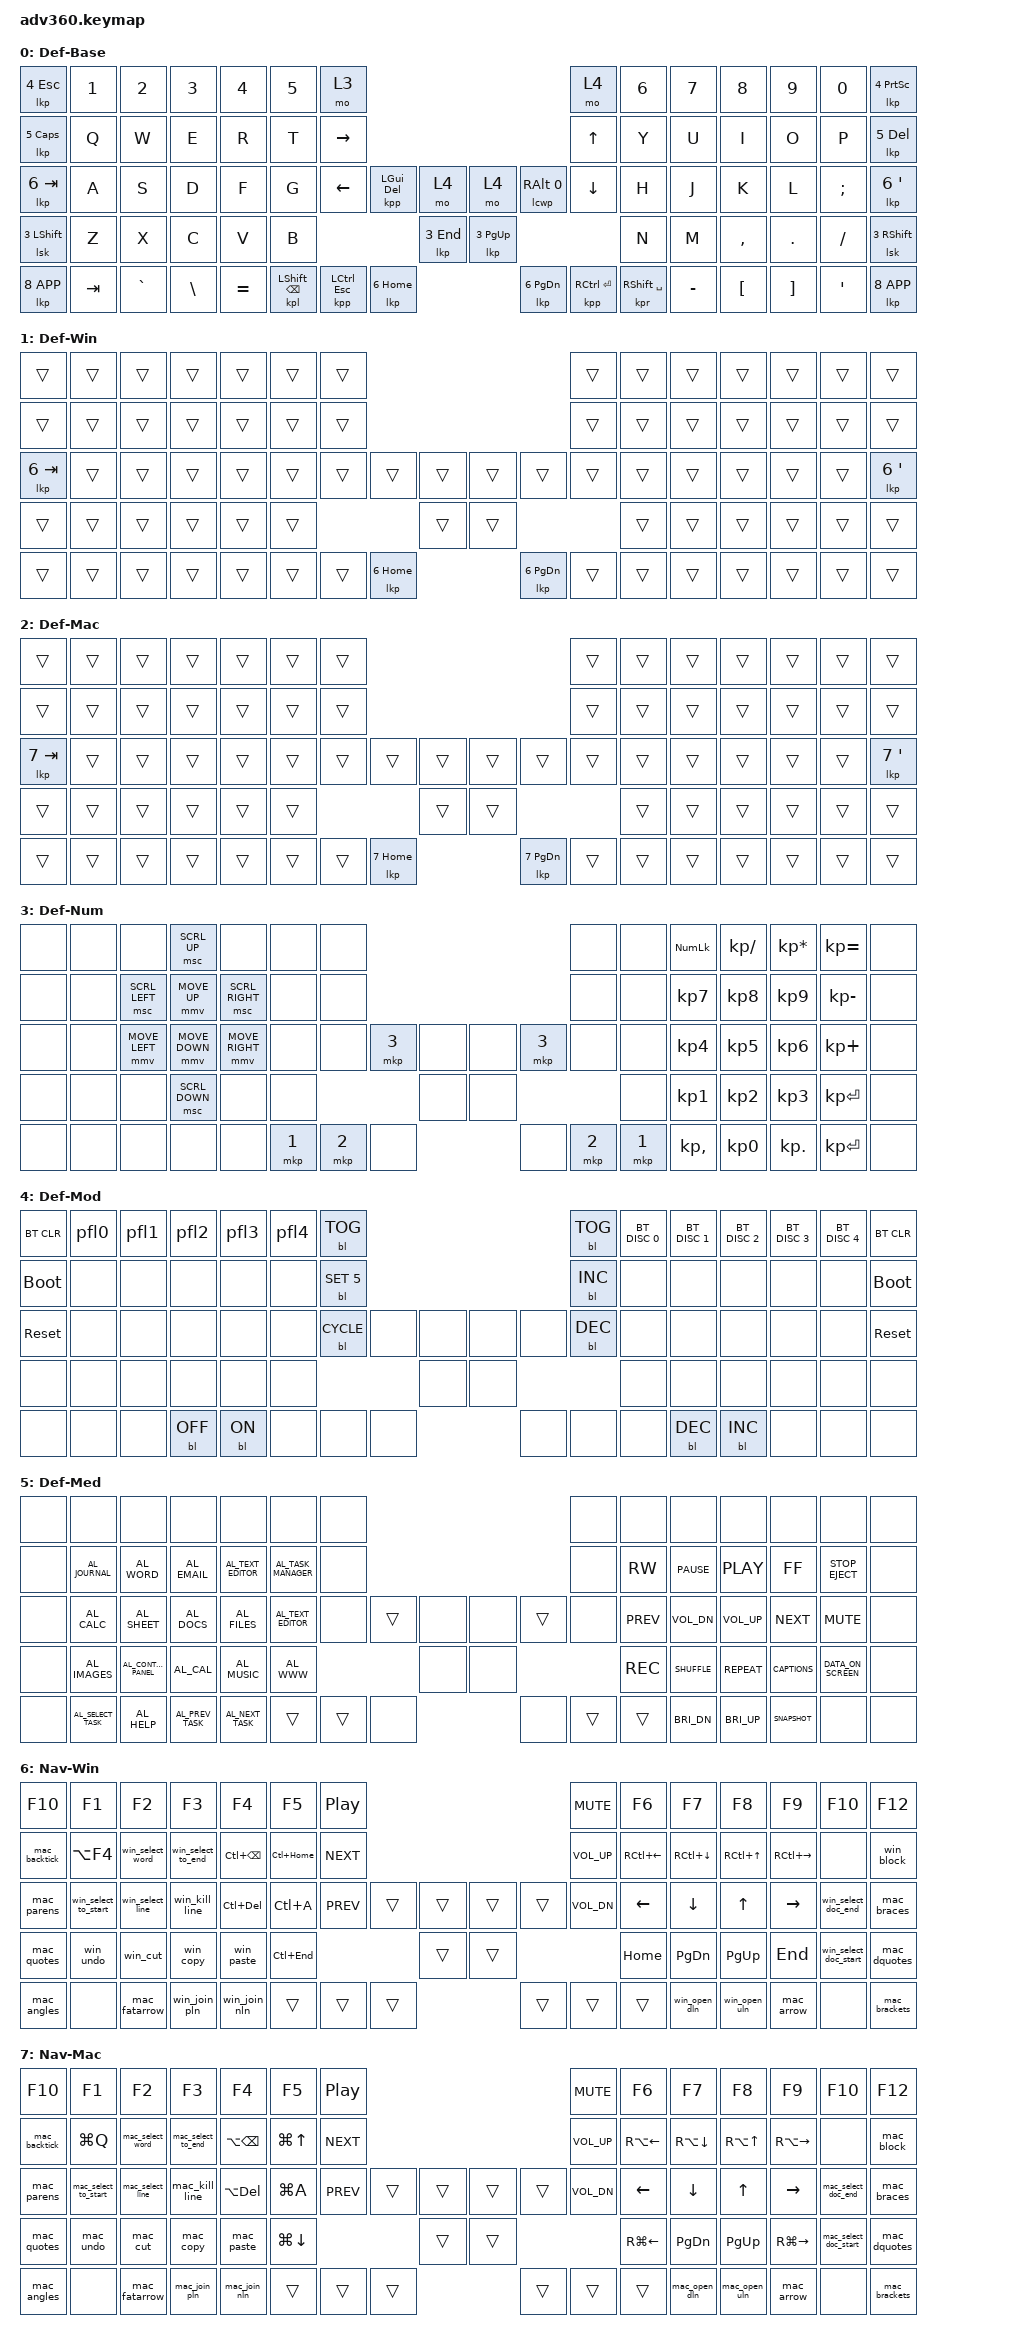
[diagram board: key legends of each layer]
#define ZMK_POINTING_DEFAULT_MOVE_VAL 1400  // default: 600
#define ZMK_POINTING_DEFAULT_SCRL_VAL 40    // default: 10
#define USER_CONFIG_DEFAULT_KEYMAP 1 // default: keymaps

#include <behaviors.dtsi>
#include <dt-bindings/zmk/backlight.h>
#include <dt-bindings/zmk/bt.h>
#include <dt-bindings/zmk/keys.h>
#include <dt-bindings/zmk/pointing.h>
#include <dt-bindings/zmk/rgb.h>
#include <dt-bindings/zmk/stp.h>
#include "plugin/overrides.dtsi"
#include "keys.dtsi"

/ {
    behaviors {
        #include "plugin/definitions.dtsi"
        #include "plugin/declarations.dtsi"
        #include "plugin/macros.dtsi"
        #include "version.dtsi"
    };

#ifdef USER_CONFIG_DEFAULT_KEYMAP
    keymap {
        compatible = "zmk,keymap";

        default_base {
            display-name = "Def-Base";
            bindings = <
                &lkp  4 ESC    &kp N1     &kp N2    &kp N3    &kp N4     &kp N5    &mo 3                                                                           &mo 4      &kp N6  &kp N7     &kp N8     &kp N9      &kp N0      &lkp 4 PSCRN
                &lkp  5 CAPS   &kp Q      &kp W     &kp E     &kp R      &kp T     &kp RIGHT                                                                       &kp UP     &kp Y   &kp U      &kp I      &kp O       &kp P       &lkp 5 DEL
                &lkp  6 TAB    &kp A      &kp S     &kp D     &kp F      &kp G     &kp LEFT         &kpp LGUI DEL &mo  4      &mo  4       &lcwp RALT 0            &kp DOWN   &kp H   &kp J      &kp K      &kp L       &kp SEMI    &lkp 6 SQT
                &lsk  3 LSHIFT &kp Z      &kp X     &kp C     &kp V      &kp B                                    &lkp 3 END  &lkp 3 PG_UP                                    &kp N   &kp M      &kp COMMA  &kp DOT     &kp FSLH    &lsk 3 RSHFT
                &lkp  8 K_APP  &kp TAB    &kp GRAVE &kp BSLH  &kp EQUAL            &kpl LSHFT BSPC &kpp LCTRL ESC &lkp 6 HOME &lkp 6 PG_DN &kpp RCTRL ENTER &kpr RSHFT SPACE          &kp MINUS  &kp LBKT   &kp RBKT    &kp SQT     &lkp 8 K_APP
            >;
        };
        default_win {
            display-name = "Def-Win";
            bindings = <
                &trans       &trans  &trans  &trans  &trans   &trans    &trans                                                &trans &trans  &trans  &trans  &trans   &trans    &trans
                &trans       &trans  &trans  &trans  &trans   &trans    &trans                                                &trans &trans  &trans  &trans  &trans   &trans    &trans
                &lkp 6 TAB   &trans  &trans  &trans  &trans   &trans    &trans         &trans &trans &trans &trans            &trans &trans  &trans  &trans  &trans   &trans    &lkp 6 SQT
                &trans       &trans  &trans  &trans  &trans   &trans                          &trans &trans                          &trans  &trans  &trans  &trans   &trans    &trans
                &trans       &trans  &trans  &trans  &trans                &trans &trans &lkp 6 HOME &lkp 6 PG_DN &trans &trans              &trans  &trans  &trans   &trans    &trans
            >;
        };
        default_mac {
            display-name = "Def-Mac";
            bindings = <
                &trans       &trans  &trans  &trans  &trans   &trans    &trans                                                &trans &trans  &trans  &trans  &trans   &trans    &trans
                &trans       &trans  &trans  &trans  &trans   &trans    &trans                                                &trans &trans  &trans  &trans  &trans   &trans    &trans
                &lkp 7 TAB   &trans  &trans  &trans  &trans   &trans    &trans         &trans &trans &trans &trans            &trans &trans  &trans  &trans  &trans   &trans    &lkp 7 SQT
                &trans       &trans  &trans  &trans  &trans   &trans                          &trans &trans                          &trans  &trans  &trans  &trans   &trans    &trans
                &trans       &trans  &trans  &trans  &trans                &trans &trans &lkp 7 HOME &lkp 7 PG_DN &trans &trans              &trans  &trans  &trans   &trans    &trans
            >;
        };
        default_num {
            display-name = "Def-Num";
            bindings = <
                &none  &none  &none          &msc SCRL_UP   &none           &none &none                                                          &none &none &kp KP_NUM     &kp KP_DIVIDE   &kp KP_MULTIPLY &kp KP_EQUAL  &none
                &none  &none  &msc SCRL_LEFT &mmv MOVE_UP   &msc SCRL_RIGHT &none &none                                                          &none &none &kp KP_N7      &kp KP_N8       &kp KP_N9       &kp KP_MINUS  &none
                &none  &none  &mmv MOVE_LEFT &mmv MOVE_DOWN &mmv MOVE_RIGHT &none &none             &mkp 3 &none &none &mkp 3                    &none &none &kp KP_N4      &kp KP_N5       &kp KP_N6       &kp KP_PLUS   &none
                &none  &none  &none          &msc SCRL_DOWN &none           &none                          &none &none                                 &none &kp KP_N1      &kp KP_N2       &kp KP_N3       &kp KP_ENTER  &none
                &none  &none  &none          &none          &none                            &mkp 1 &mkp 2 &none &none &mkp 2 &mkp 1                         &kp KP_COMMA   &kp KP_NUMBER_0 &kp KP_DOT      &kp KP_ENTER  &none
            >;
        };
        default_mod {
            display-name = "Def-Mod";
            bindings = <
                &bt BT_CLR  &pfl0  &pfl1  &pfl2       &pfl3      &pfl4   &bl BL_TOG                              &bl BL_TOG &bt BT_DISC 0 &bt BT_DISC 1 &bt BT_DISC 2 &bt BT_DISC 3 &bt BT_DISC 4 &bt BT_CLR
                &bootloader &none  &none  &none       &none      &none   &bl BL_SET 5                            &bl BL_INC &none         &none         &none         &none         &none         &bootloader
                &sys_reset  &none  &none  &none       &none      &none   &bl BL_CYCLE  &none &none &none &none   &bl BL_DEC &none         &none         &none         &none         &none         &sys_reset
                &none       &none  &none  &none       &none      &none                       &none &none                    &none         &none         &none         &none         &none         &none
                &none       &none  &none  &bl BL_OFF  &bl BL_ON                  &none &none &none &none &none &none                      &bl BL_DEC    &bl BL_INC    &none         &none         &none
            >;
        };
        default_med {
            display-name = "Def-Med";
            bindings = <
                &none &none                &none                   &none              &none                 &none                  &none                             &none  &none       &none          &none         &none          &none                &none
                &none &kp C_AL_JOURNAL     &kp C_AL_WORD           &kp C_AL_EMAIL     &kp C_AL_TEXT_EDITOR  &kp C_AL_TASK_MANAGER  &none                             &none  &kp C_RW    &kp C_PAUSE    &kp C_PLAY    &kp C_FF       &kp C_STOP_EJECT     &none
                &none &kp C_AL_CALC        &kp C_AL_SHEET          &kp C_AL_DOCS      &kp C_AL_FILES        &kp C_AL_TEXT_EDITOR   &none  &trans &none &none &trans  &none  &kp C_PREV  &kp C_VOL_DN   &kp C_VOL_UP  &kp C_NEXT     &kp C_MUTE           &none
                &none &kp C_AL_IMAGES      &kp C_AL_CONTROL_PANEL  &kp C_AL_CAL       &kp C_AL_MUSIC        &kp C_AL_WWW                        &none &none                 &kp C_REC   &kp C_SHUFFLE  &kp C_REPEAT  &kp C_CAPTIONS &kp C_DATA_ON_SCREEN &none
                &none &kp C_AL_SELECT_TASK &kp C_AL_HELP           &kp C_AL_PREV_TASK &kp C_AL_NEXT_TASK                          &trans &trans &none &none &trans &trans               &kp C_BRI_DN   &kp C_BRI_UP  &kp C_SNAPSHOT &none                &none
            >;
        };
        win_nav {
            display-name = "Nav-Win";
            bindings = <
                &kp F10         &kp F1               &kp F2             &kp F3              &kp F4          &kp F5       &kp C_PP                                 &kp C_MUTE    &kp F6       &kp F7          &kp F8      &kp F9         &kp F10                   &kp F12
                &mac_backtick &kp LA(F4)         &win_select_word   &win_select_to_end  &kp LC(BSPC)    &kp LC(HOME) &kp C_NEXT                               &kp C_VOL_UP  &kp RC(LEFT) &kp RC(DOWN)    &kp RC(UP)  &kp RC(RIGHT)  &none                     &win_block
                &mac_parens   &win_select_to_start &win_select_line   &win_kill_line      &kp LC(DEL)     &kp LC(A)    &kp C_PREV  &trans &trans &trans &trans  &kp C_VOL_DN  &kp LEFT     &kp DOWN        &kp UP      &kp RIGHT      &win_select_doc_end       &mac_braces
                &mac_quotes   &win_undo          &win_cut           &win_copy           &win_paste      &kp LC(END)                     &trans &trans                       &kp HOME     &kp PG_DN       &kp PG_UP   &kp END        &win_select_doc_start     &mac_dquotes
                &mac_angles   &none              &mac_fatarrow      &win_join_pln       &win_join_nln                   &trans &trans &trans &trans &trans &trans                        &win_open_dln &win_open_uln &mac_arrow     &none                     &mac_brackets
            >;
        };
        mac_nav {
            display-name = "Nav-Mac";
            bindings = <
                &kp F10         &kp F1               &kp F2             &kp F3              &kp F4           &kp F5       &kp C_PP                                 &kp C_MUTE    &kp F6       &kp F7          &kp F8        &kp F9         &kp F10                  &kp F12
                &mac_backtick &kp LG(Q)          &mac_select_word   &mac_select_to_end  &kp LA(BSPC)     &kp LG(UP)   &kp C_NEXT                               &kp C_VOL_UP  &kp RA(LEFT) &kp RA(DOWN)    &kp RA(UP)    &kp RA(RIGHT)  &none                    &mac_block
                &mac_parens   &mac_select_to_start &mac_select_line   &mac_kill_line      &kp LA(DEL)      &kp LG(A)    &kp C_PREV  &trans &trans &trans &trans  &kp C_VOL_DN  &kp LEFT     &kp DOWN        &kp UP        &kp RIGHT      &mac_select_doc_end      &mac_braces
                &mac_quotes   &mac_undo          &mac_cut           &mac_copy           &mac_paste       &kp LG(DOWN)                     &trans &trans                      &kp RG(LEFT) &kp PG_DN       &kp PG_UP     &kp RG(RIGHT)  &mac_select_doc_start    &mac_dquotes
                &mac_angles   &none              &mac_fatarrow      &mac_join_pln       &mac_join_nln                     &trans &trans &trans &trans &trans &trans                       &mac_open_dln   &mac_open_uln &mac_arrow     &none                    &mac_brackets
            >;
        };
    };
#else
    keymap {
        compatible = "zmk,keymap";

        default_layer {
            display-name = "Def-Base";
            bindings = <
                &none         &none        &none       &none       &none        &none     &none                                                          &none   &none   &none         &none       &none       &none           &none
                &lcwm 5 0     &kp Q        &kp W       &kp E       &kp R        &kp T     &none                                                          &none   &kp Y   &kp U         &kp I       &kp O       &kp P           &lkp 5 DEL
                &lkp  7 TAB   &hml HYPER A &hml LGUI S &hml LALT D &hml LCTRL F &kp G     &none           &lkp 6 TAB &none &none &lkp DEL 6              &none   &kp H   &hmr RCTRL J  &hmr RALT K &hmr RGUI L &hmr HYPER SEMI &lkp 7 SQT
                &lkp  4 BSLH  &kp Z        &kp X       &kp C       &kp V        &kp B                                &none &none                                 &kp N   &kp M         &kp COMMA   &kp DOT     &kp FSLH        &lkp 4 GRAVE
                &none         &none        &none       &none       &none                  &kpl LSHFT BSPC &lkp 3 ESC &none &none &lkp 3 ENTER &kpr RSHFT SPACE           &none         &none       &none       &none           &none
            >;
        };
        default_win {
            display-name = "Def-Win";
            bindings = <
                &none        &none   &none   &none   &none    &none     &none                                                 &none  &none   &none   &none   &none    &none     &none
                &trans       &trans  &trans  &trans  &trans   &trans    &none                                                 &none  &trans  &trans  &trans  &trans   &trans    &trans
                &lkp 7 TAB   &trans  &trans  &trans  &trans   &trans    &none          &trans &none &none &trans              &none  &trans  &trans  &trans  &trans   &trans    &lkp 7 SQT
                &trans       &trans  &trans  &trans  &trans   &trans                          &none &none                            &trans  &trans  &trans  &trans   &trans    &trans
                &none        &none   &none   &none   &none                      &trans &trans &none &none &trans &trans                      &none   &none   &none    &none     &none
            >;
        };
        default_mac {
            display-name = "Def-Mac";
            bindings = <
                &none        &none   &none   &none   &none    &none     &none                                                &none  &none   &none   &none   &none    &none     &none
                &trans       &trans  &trans  &trans  &trans   &trans    &none                                                &none  &trans  &trans  &trans  &trans   &trans    &trans
                &lkp 8 TAB   &trans  &trans  &trans  &trans   &trans    &none          &trans &none &none &trans             &none  &trans  &trans  &trans  &trans   &trans    &lkp 8 SQT
                &trans       &trans  &trans  &trans  &trans   &trans                          &none &none                            &trans &trans  &trans  &trans   &trans    &trans
                &none        &none   &none   &none   &none                     &trans &trans  &none &none &trans &trans                     &none   &none   &none    &none     &none
            >;
        };
        default_sym {
            display-name = "Def-Sym";
            bindings = <
                &none  &none        &none      &none      &none      &none      &none                                 &none &none      &none         &none        &none        &none         &none
                &trans &kp N1       &kp N2     &kp N3     &kp N4     &kp N5     &none                                 &none &kp N6     &kp N7        &kp N8       &kp N9       &kp N0        &trans
                &trans &kp LS(N1)   &kp LS(N2) &kp LS(N3) &kp LS(N4) &kp LS(N5) &none   &trans &none  &none  &trans   &none &kp LS(N6) &kp LS(N7)    &kp LS(N8)   &kp LS(N9)   &kp LS(N0)    &trans
                &trans &kp LS(BSLH) &kp LBKT   &kp RBKT   &kp EQUAL  &kp LS(EQUAL)             &none  &none                 &kp MINUS  &kp LS(MINUS) &kp LS(LBKT) &kp LS(RBKT) &kp LS(GRAVE) &trans
                &none  &none        &none      &none      &none                  &trans &trans &none  &none &trans  &trans             &none         &none        &none        &none         &none
            >;
        };
        default_num {
            display-name = "Def-Num";
            bindings = <
                &none  &none  &none          &none          &none           &none &none                                            &none &none           &none      &none      &none      &none         &none
                &trans &none  &msc SCRL_LEFT &mmv MOVE_UP   &msc SCRL_RIGHT &none &none                                            &none &kp KP_MULTIPLY &kp KP_N7  &kp KP_N8  &kp KP_N9  &kp KP_MINUS  &trans
                &trans &none  &mmv MOVE_LEFT &mmv MOVE_DOWN &mmv MOVE_RIGHT &none &none        &mkp 3 &none &none &mkp 3           &none &kp KP_DIVIDE   &kp KP_N4  &kp KP_N5  &kp KP_N6  &kp KP_PLUS   &trans
                &trans &none  &none          &msc SCRL_DOWN &none           &none                     &none &none                        &kp KP_DOT      &kp KP_N1  &kp KP_N2  &kp KP_N3  &kp KP_N0     &trans
                &none  &none  &none          &none          &none                       &mkp 1 &mkp 2 &none &none &mkp 2 &mkp 1                          &none      &none      &none      &none         &none
            >;
        };
        default_med {
            display-name = "Def-Med";
            bindings = <
                &none  &none            &none                  &none          &none                 &none                  &none                                &none &none      &none         &none         &none            &none                &none
                &trans &kp C_AL_JOURNAL &kp C_AL_WORD          &kp C_AL_EMAIL &kp C_AL_TEXT_EDITOR  &kp C_AL_TASK_MANAGER  &none                                &none &kp C_RW   &kp C_PAUSE   &kp C_PLAY    &kp C_FF         &kp C_STOP_EJECT     &trans
                &trans &kp C_AL_CALC    &kp C_AL_SHEET         &kp C_AL_DOCS  &kp C_AL_FILES        &kp C_AL_TEXT_EDITOR   &none  &trans &none &none  &none     &none &kp C_PREV &kp C_VOL_DN  &kp C_VOL_UP  &kp C_NEXT       &kp C_MUTE           &trans
                &trans &kp C_AL_IMAGES  &kp C_AL_CONTROL_PANEL &kp C_AL_CAL   &kp C_AL_MUSIC        &kp C_AL_WWW                         &none &none                  &kp C_REC  &kp C_SHUFFLE &kp C_REPEAT  &kp C_CAPTIONS   &kp C_DATA_ON_SCREEN &trans
                &none  &none            &none                  &none          &none                                        &trans &trans &none &none &trans &trans               &none         &none         &none            &none                &none
            >;
        };
        default_mod {
            display-name = "Def-Mod";
            bindings = <
                &none       &none  &none  &none  &none  &none  &none                                       &none  &none         &none         &none         &none          &none        &none
                &bt BT_CLR  &pfl0  &pfl1  &pfl2  &pfl3  &pfl4  &none                                       &none  &bt BT_DISC 0 &bt BT_DISC 1 &bt BT_DISC 2 &bt BT_DISC 3 &bt BT_DISC 4 &bt BT_CLR
                &bootloader &none  &none  &none  &none  &none  &none         &none &none &none &none       &none  &bl BL_TOG    &bl BL_DEC    &bl BL_INC    &bl BL_CYCLE  &bl BL_SET 5  &bootloader
                &sys_reset  &none  &none  &none  &none  &none                      &none &none                    &none         &bl BL_OFF    &bl BL_ON     &none         &none         &sys_reset
                &none       &none  &none  &none  &none                 &none &none &none &none &none &none                      &none         &none         &none         &none         &none
            >;
        };
        win_nav {
            display-name = "Nav-win";
            bindings = <
                &none    &none                &none              &none               &none           &none        &none                               &none  &none        &none           &none           &none          &none    &none
                &trans   &kp LA(F4)           &win_select_word   &win_select_to_end  &kp LC(BSPC)    &kp LC(HOME) &none                               &none  &kp RC(LEFT) &kp RC(DOWN)    &kp RC(UP)      &kp RC(RIGHT)  &none    &trans
                &trans   &win_select_to_start &win_select_line   &win_kill_line      &kp LC(DEL)     &kp LC(A)    &none  &trans &none &none &trans    &none  &kp LEFT     &kp DOWN        &kp UP          &kp RIGHT      &none    &trans
                &trans   &win_undo            &win_cut           &win_copy           &win_paste      &kp LC(END)                &none &none                  &kp HOME     &kp PG_DN       &kp PG_UP       &kp END        &none    &trans
                &none    &none                &none              &none               &none                        &trans &trans &none &none &trans &trans                 &none           &none           &none          &none    &none
            >;
        };
        mac_nav {
            display-name = "Nav-mac";
            bindings = <
                &none    &none                &none              &none               &none           &none        &none                               &none  &none        &none           &none           &none          &none    &none
                &trans   &kp LA(F4)           &mac_select_word   &mac_select_to_end  &kp LA(BSPC)    &kp LA(HOME) &none                               &none  &kp RA(LEFT) &kp RA(DOWN)    &kp RA(UP)      &kp RC(RIGHT)  &none    &trans
                &trans   &mac_select_to_start &mac_select_line   &mac_kill_line      &kp LA(DEL)     &kp LA(A)    &none  &trans &none &none &trans    &none  &kp LEFT     &kp DOWN        &kp UP          &kp RIGHT      &none    &trans
                &trans   &mac_undo            &mac_cut           &mac_copy           &mac_paste      &kp LA(END)                &none &none                  &kp RG(LEFT) &kp PG_DN       &kp PG_UP       &kp RG(RIGHT)  &none    &trans
                &none    &none                &none              &none               &none                        &trans &trans &none &none &trans &trans                 &none           &none           &none          &none    &none
            >;
        };
    };
#endif
};
